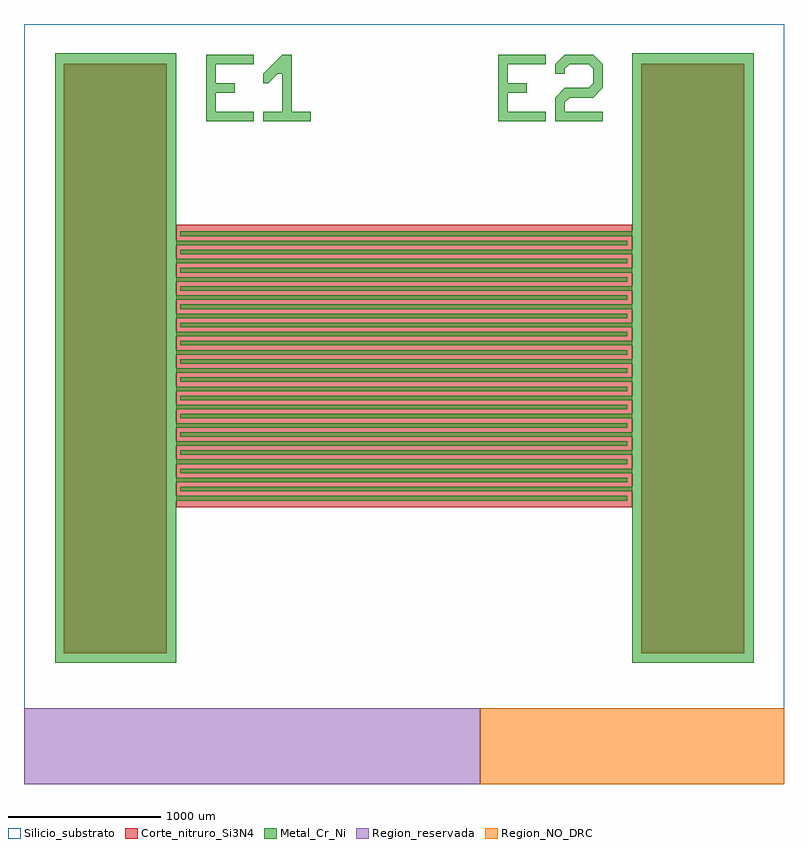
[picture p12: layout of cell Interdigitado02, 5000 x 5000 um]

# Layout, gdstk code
import gdstk
lib = gdstk.Library(unit=1e-6, precision=1e-06)
def R(c, l, rs):  # rectangles x0, y0, x1, y1
    for r in rs: c.add(gdstk.rectangle(r[:2], r[2:], *l))
def P(c, l, *ps):  # polygons
    for p in ps: c.add(gdstk.Polygon(p, *l))
Silicio_substrato = (1, 1)
Region_reservada = (1, 2)
Region_NO_DRC = (1, 3)
Metal_Cr_Ni = (2, 0)
Corte_nitruro_Si3N4 = (3, 0)

chip_plantilla5x5mm_1 = lib.new_cell('Chip_Plantilla5x5mm$1')
R(chip_plantilla5x5mm_1, Silicio_substrato, [(0,0,5000,5000)])
R(chip_plantilla5x5mm_1, Region_reservada, [(0,0,3000,500)])
R(chip_plantilla5x5mm_1, Region_NO_DRC, [(3000,0,5000,500)])

text_12 = lib.new_cell('TEXT$12')
P(text_12, Metal_Cr_Ni, [(0,0),(0,438),(313,438),(313,375),(63,375),(63,250),(188,250),(188,188),(63,188),(63,63),(313,63),(313,0)],
  [(375,0),(375,63),(500,63),(500,313),(469,313),(406,250),(375,250),(375,313),(500,438),(563,438),(563,63),(688,63),(688,0)])

text_13 = lib.new_cell('TEXT$13')
P(text_13, Metal_Cr_Ni, [(0,0),(0,438),(313,438),(313,375),(63,375),(63,250),(188,250),(188,188),(63,188),(63,63),(313,63),(313,0)],
  [(375,0),(375,156),(438,219),(594,219),(625,250),(625,344),(594,375),(469,375),(438,344),(438,313),(375,313),(375,375),(438,438),(625,438),(688,375),(688,219),(625,156),(469,156),(438,125),(438,63),(688,63),(688,0)])

interdigitado02 = lib.new_cell('Interdigitado02')
P(interdigitado02, Metal_Cr_Ni, [(205,798),(205,4808),(1000,4808),(1000,3575),(3969,3575),(3969,3545),(1000,3545),(1000,3455),(3969,3455),(3969,3425),(1000,3425),(1000,3335),(3969,3335),(3969,3305),(1000,3305),(1000,3215),(3969,3215),(3969,3185),(1000,3185),(1000,3095),(3969,3095),(3969,3065),(1000,3065),(1000,2975),(3969,2975),(3969,2945),(1000,2945),(1000,2855),(3969,2855),(3969,2825),(1000,2825),(1000,2735),(3969,2735),(3969,2705),(1000,2705),(1000,2615),(3969,2615),(3969,2585),(1000,2585),(1000,2495),(3969,2495),(3969,2465),(1000,2465),(1000,2375),(3969,2375),(3969,2345),(1000,2345),(1000,2255),(3969,2255),(3969,2225),(1000,2225),(1000,2135),(3969,2135),(3969,2105),(1000,2105),(1000,2015),(3969,2015),(3969,1985),(1000,1985),(1000,1895),(3969,1895),(3969,1865),(1000,1865),(1000,798)],
  [(4000,798),(4000,1925),(1029,1925),(1029,1955),(4000,1955),(4000,2045),(1029,2045),(1029,2075),(4000,2075),(4000,2165),(1029,2165),(1029,2195),(4000,2195),(4000,2285),(1029,2285),(1029,2315),(4000,2315),(4000,2405),(1029,2405),(1029,2435),(4000,2435),(4000,2525),(1029,2525),(1029,2555),(4000,2555),(4000,2645),(1029,2645),(1029,2675),(4000,2675),(4000,2765),(1029,2765),(1029,2795),(4000,2795),(4000,2885),(1029,2885),(1029,2915),(4000,2915),(4000,3005),(1029,3005),(1029,3035),(4000,3035),(4000,3125),(1029,3125),(1029,3155),(4000,3155),(4000,3245),(1029,3245),(1029,3275),(4000,3275),(4000,3365),(1029,3365),(1029,3395),(4000,3395),(4000,3485),(1029,3485),(1029,3515),(4000,3515),(4000,3605),(1029,3605),(1029,3635),(4000,3635),(4000,4808),(4801,4808),(4801,798)])
R(interdigitado02, Corte_nitruro_Si3N4, [(260,860,940,4740), (4060,860,4740,4740), (1000,1820,4000,3680)])
interdigitado02.add(gdstk.Reference(chip_plantilla5x5mm_1, (0,0)))
interdigitado02.add(gdstk.Reference(text_12, (1200,4360)))
interdigitado02.add(gdstk.Reference(text_13, (3120,4360)))

lib.write_gds('Interdigitado02.gds')
